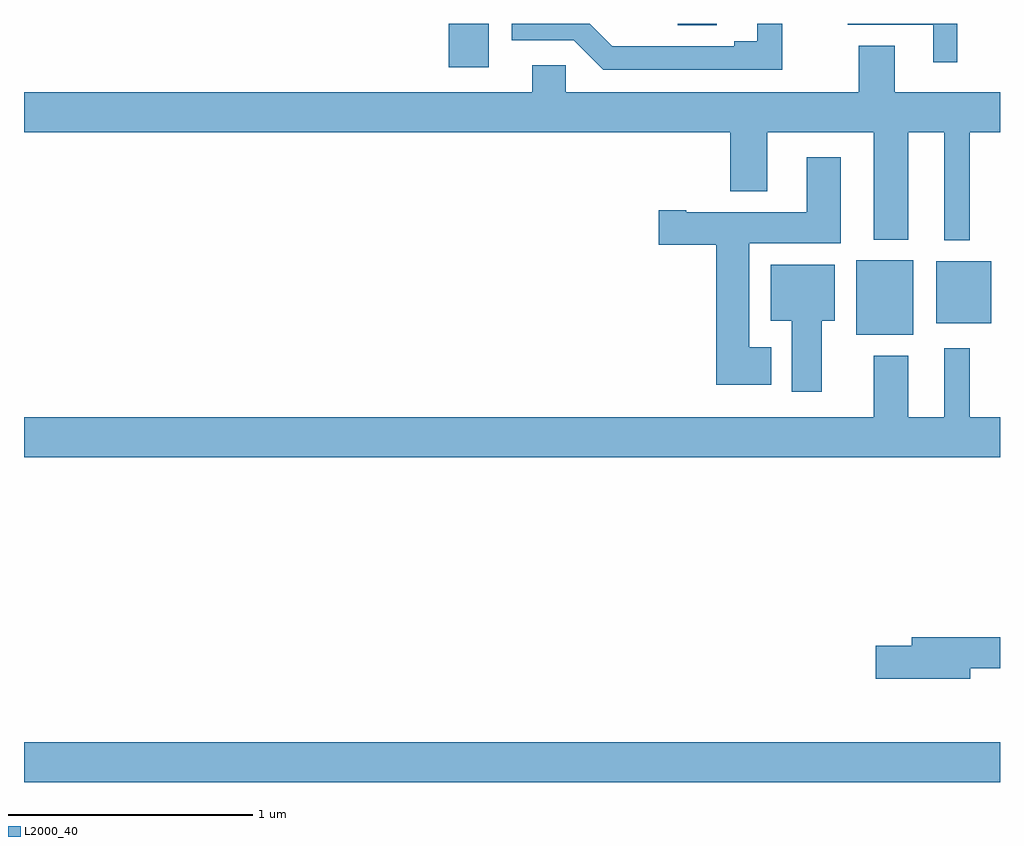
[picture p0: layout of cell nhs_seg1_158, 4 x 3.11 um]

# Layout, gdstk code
import gdstk
lib = gdstk.Library(unit=1e-6, precision=1e-09)
def R(c, l, rs):  # rectangles x0, y0, x1, y1
    for r in rs: c.add(gdstk.rectangle(r[:2], r[2:], *l))
def P(c, l, *ps):  # polygons
    for p in ps: c.add(gdstk.Polygon(p, *l))
L2000_40 = (2000, 40)

nhs_seg1_158 = lib.new_cell('nhs_seg1_158')
R(nhs_seg1_158, L2000_40, [(119,525.092,123,525.256), (122.411,526.925,122.644,527.23), (122.738,526.973,122.965,527.227), (120.74,528.021,120.904,528.199), (121.68,528.193,121.84,528.199)])
P(nhs_seg1_158, L2000_40, [(122.108,528.199),(122.006,528.199),(122.006,528.128),(121.91,528.128),(121.91,528.108),(121.41,528.108),(121.319,528.199),(120.999,528.199),(120.999,528.132),(121.254,528.132),(121.374,528.012),(122.108,528.012)],
  [(122.825,528.199),(122.377,528.199),(122.377,528.195),(122.726,528.195),(122.726,528.042),(122.825,528.042)],
  [(122.569,528.11),(122.422,528.11),(122.422,527.92),(121.221,527.92),(121.221,528.03),(121.082,528.03),(121.082,527.92),(119,527.92),(119,527.756),(121.895,527.756),(121.895,527.513),(122.047,527.513),(122.047,527.756),(122.483,527.756),(122.483,527.315),(122.623,527.315),(122.623,527.756),(122.771,527.756),(122.771,527.312),(122.875,527.312),(122.875,527.756),(123,527.756),(123,527.92),(122.569,527.92)],
  [(122.062,526.873),(121.972,526.873),(121.972,527.3),(122.347,527.3),(122.347,527.653),(122.207,527.653),(122.207,527.428),(121.714,527.428),(121.714,527.436),(121.602,527.436),(121.602,527.294),(121.838,527.294),(121.838,526.721),(122.062,526.721)],
  [(122.269,526.982),(122.323,526.982),(122.323,527.212),(122.06,527.212),(122.06,526.982),(122.147,526.982),(122.147,526.692),(122.269,526.692)],
  [(123,526.588),(122.875,526.588),(122.875,526.87),(122.771,526.87),(122.771,526.588),(122.623,526.588),(122.623,526.84),(122.483,526.84),(122.483,526.588),(119,526.588),(119,526.424),(123,526.424)],
  [(122.878,525.558),(123,525.558),(123,525.686),(122.639,525.686),(122.639,525.65),(122.49,525.65),(122.49,525.515),(122.878,525.515)])

lib.write_gds('nhs_seg1_158.gds')
